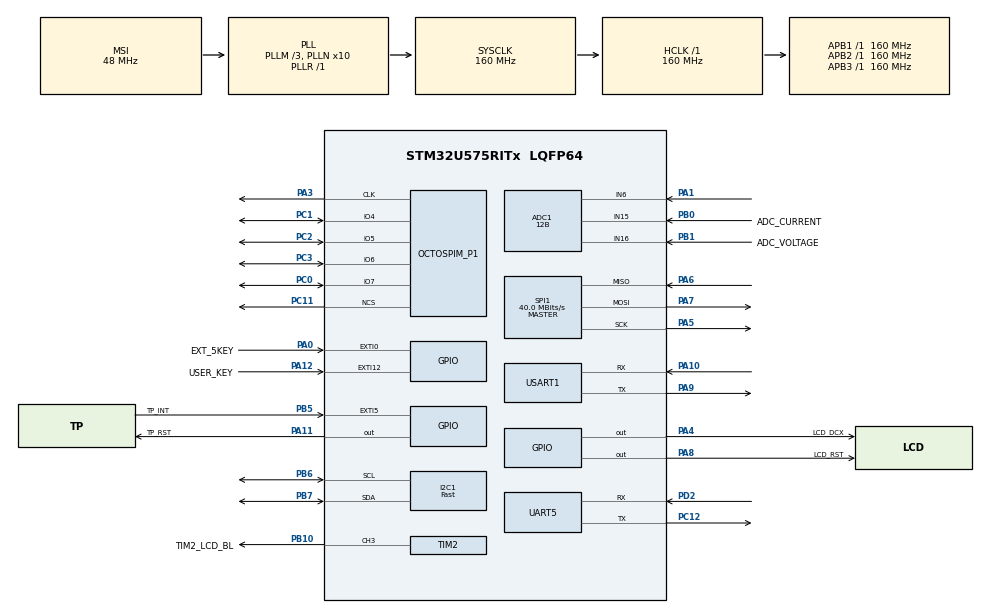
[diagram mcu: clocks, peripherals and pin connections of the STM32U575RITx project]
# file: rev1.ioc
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ADC1.Channel-0\#ChannelRegularConversion=ADC_CHANNEL_6
ADC1.Channel-1\#ChannelRegularConversion=ADC_CHANNEL_15
ADC1.Channel-2\#ChannelRegularConversion=ADC_CHANNEL_16
ADC1.Channel-3\#ChannelRegularConversion=ADC_CHANNEL_TEMPSENSOR
ADC1.Channel-4\#ChannelRegularConversion=ADC_CHANNEL_VREFINT
ADC1.Channel-5\#ChannelRegularConversion=ADC_CHANNEL_VBAT
ADC1.ClockPrescaler=ADC_CLOCK_ASYNC_DIV4
ADC1.ContinuousConvMode=ENABLE
ADC1.ConversionDataManagement=ADC_CONVERSIONDATA_DMA_CIRCULAR
ADC1.EnableRegularConversion=ENABLE
ADC1.MonitoredBy-0\#ChannelRegularConversion=__NULL
ADC1.MonitoredBy-1\#ChannelRegularConversion=__NULL
ADC1.MonitoredBy-2\#ChannelRegularConversion=__NULL
ADC1.MonitoredBy-3\#ChannelRegularConversion=__NULL
ADC1.MonitoredBy-4\#ChannelRegularConversion=__NULL
ADC1.MonitoredBy-5\#ChannelRegularConversion=__NULL
ADC1.NbrOfConversion=6
ADC1.NbrOfConversionFlag=1
ADC1.OffsetNumber-0\#ChannelRegularConversion=ADC_OFFSET_NONE
ADC1.OffsetNumber-1\#ChannelRegularConversion=ADC_OFFSET_NONE
ADC1.OffsetNumber-2\#ChannelRegularConversion=ADC_OFFSET_NONE
ADC1.OffsetNumber-3\#ChannelRegularConversion=ADC_OFFSET_NONE
ADC1.OffsetNumber-4\#ChannelRegularConversion=ADC_OFFSET_NONE
ADC1.OffsetNumber-5\#ChannelRegularConversion=ADC_OFFSET_NONE
ADC1.Rank-0\#ChannelRegularConversion=1
ADC1.Rank-1\#ChannelRegularConversion=2
ADC1.Rank-2\#ChannelRegularConversion=3
ADC1.Rank-3\#ChannelRegularConversion=4
ADC1.Rank-4\#ChannelRegularConversion=5
ADC1.Rank-5\#ChannelRegularConversion=6
ADC1.Resolution=ADC_RESOLUTION_12B
ADC1.SamplingTime-0\#ChannelRegularConversion=ADC_SAMPLETIME_391CYCLES_5
ADC1.SamplingTime-1\#ChannelRegularConversion=ADC_SAMPLETIME_391CYCLES_5
ADC1.SamplingTime-2\#ChannelRegularConversion=ADC_SAMPLETIME_391CYCLES_5
ADC1.SamplingTime-3\#ChannelRegularConversion=ADC_SAMPLETIME_391CYCLES_5
ADC1.SamplingTime-4\#ChannelRegularConversion=ADC_SAMPLETIME_391CYCLES_5
ADC1.SamplingTime-5\#ChannelRegularConversion=ADC_SAMPLETIME_391CYCLES_5
ADC1.master=1
CORTEX_M33_NS.userName=CORTEX_M33
GPDMA1.CIRCULARMODE_GPDMACH1=ENABLE
GPDMA1.DESTDATAWIDTH_GPDMACH0=DMA_DEST_DATAWIDTH_HALFWORD
GPDMA1.DESTDATAWIDTH_GPDMACH1=DMA_DEST_DATAWIDTH_HALFWORD
GPDMA1.DESTINC_GPDMACH1=DMA_DINC_INCREMENTED
GPDMA1.DIRECTION_GPDMACH0=DMA_MEMORY_TO_PERIPH
GPDMA1.DIRECTION_GPDMACH1=DMA_PERIPH_TO_MEMORY
GPDMA1.IPHANDLE_GPDMACH0-SIMPLEREQUEST_GPDMACH0=__NULL
GPDMA1.IPHANDLE_GPDMACH1-SIMPLEREQUEST_GPDMACH1=__NULL
GPDMA1.LINKALLOCATEDPORT_CIRCULAR_GPDMACH1=DMA_LINK_ALLOCATED_PORT1
GPDMA1.PRIORITY_GPDMACH0=DMA_LOW_PRIORITY_HIGH_WEIGHT
GPDMA1.PRIORITY_LL_CIRCULAR_GPDMACH1=DMA_LOW_PRIORITY_HIGH_WEIGHT
GPDMA1.REQUEST_GPDMACH0=GPDMA1_REQUEST_SPI1_TX
GPDMA1.REQUEST_GPDMACH1=GPDMA1_REQUEST_ADC1
GPDMA1.SRCDATAWIDTH_GPDMACH0=DMA_SRC_DATAWIDTH_HALFWORD
GPDMA1.SRCDATAWIDTH_GPDMACH1=DMA_SRC_DATAWIDTH_HALFWORD
GPDMA1.SRCINC_GPDMACH0=DMA_SINC_INCREMENTED
GPDMA1.SRCINC_GPDMACH1=DMA_SINC_FIXED
GPDMA1.TRANSFERALLOCATEDPORTDEST_GPDMACH0=DMA_DEST_ALLOCATED_PORT1
GPDMA1.TRANSFERALLOCATEDPORTDEST_GPDMACH1=DMA_DEST_ALLOCATED_PORT1
GPDMA1.TRANSFERALLOCATEDPORTSRC_GPDMACH1=DMA_SRC_ALLOCATED_PORT1
I2C1.I2C_Speed_Mode=I2C_Fast
I2C1.Timing=0x00F07BFF
ICACHE.Region=ICACHE_REGION_0
Mcu.Family=STM32U5
Mcu.Name=STM32U575RITx
Mcu.Package=LQFP64
NVIC.EXTI0_IRQn=true\:0\:0\:false\:false\:true\:true\:true\:true
NVIC.EXTI12_IRQn=true\:12\:0\:true\:false\:true\:true\:true\:true
NVIC.EXTI5_IRQn=true\:10\:0\:true\:false\:true\:true\:true\:true
NVIC.GPDMA1_Channel0_IRQn=true\:0\:0\:false\:false\:true\:false\:true\:true
NVIC.GPDMA1_Channel1_IRQn=true\:0\:0\:false\:false\:true\:false\:true\:true
NVIC.PriorityGroup=NVIC_PRIORITYGROUP_4
NVIC.SPI1_IRQn=true\:0\:0\:false\:false\:true\:false\:true\:true
NVIC.TIM16_IRQn=true\:13\:0\:true\:false\:true\:true\:true\:true
NVIC.TIM17_IRQn=true\:14\:0\:true\:false\:true\:true\:true\:true
NVIC.UART5_IRQn=true\:1\:0\:true\:false\:true\:true\:true\:true
OCTOSPI1.ClockMode=HAL_OSPI_CLOCK_MODE_3
OCTOSPI1.ClockPrescaler=2
OCTOSPI1.DeviceSize=24
OCTOSPI1.FifoThreshold=8
OCTOSPI1.SampleShifting=HAL_OSPI_SAMPLE_SHIFTING_HALFCYCLE
PA0.GPIO_Label=EXT_5KEY
PA0.GPIO_ModeDefaultEXTI=GPIO_MODE_IT_RISING_FALLING
PA0.Signal=GPXTI0
PA1.Mode=IN6-Single-Ended
PA1.Signal=ADC1_IN6
PA10.Mode=Asynchronous
PA10.Signal=USART1_RX
PA11.GPIO_Label=TP_RST
PA11.Signal=GPIO_Output
PA12.GPIO_Label=USER_KEY
PA12.GPIO_ModeDefaultEXTI=GPIO_MODE_IT_FALLING
PA12.Signal=GPXTI12
PA3.Mode=O1_P1_CLK
PA3.Signal=OCTOSPIM_P1_CLK
PA4.GPIO_Label=LCD_DCX
PA4.GPIO_Speed=GPIO_SPEED_FREQ_VERY_HIGH
PA4.Signal=GPIO_Output
PA5.GPIO_Speed=GPIO_SPEED_FREQ_VERY_HIGH
PA5.Mode=Full_Duplex_Master
PA5.Signal=SPI1_SCK
PA6.Mode=Full_Duplex_Master
PA6.Signal=SPI1_MISO
PA7.GPIO_Speed=GPIO_SPEED_FREQ_VERY_HIGH
PA7.Mode=Full_Duplex_Master
PA7.Signal=SPI1_MOSI
PA8.GPIO_Label=LCD_RST
PA8.GPIO_Speed=GPIO_SPEED_FREQ_HIGH
PA8.Signal=GPIO_Output
PA9.Mode=Asynchronous
PA9.Signal=USART1_TX
PB0.GPIO_Label=ADC_CURRENT
PB0.Mode=IN15-Single-Ended
PB0.Signal=ADC1_IN15
PB1.GPIO_Label=ADC_VOLTAGE
PB1.Mode=IN16-Single-Ended
PB1.Signal=ADC1_IN16
PB10.GPIO_Label=TIM2_LCD_BL
PB10.Signal=S_TIM2_CH3
PB5.GPIO_Label=TP_INT
PB5.GPIO_ModeDefaultEXTI=GPIO_MODE_IT_RISING_FALLING
PB5.Signal=GPXTI5
PB6.Mode=I2C
PB6.Signal=I2C1_SCL
PB7.Mode=I2C
PB7.Signal=I2C1_SDA
PC0.Mode=OCTOSPI1_IOL_Port1H
PC0.Signal=OCTOSPIM_P1_IO7
PC1.Mode=OCTOSPI1_IOL_Port1H
PC1.Signal=OCTOSPIM_P1_IO4
PC11.Mode=OCTOSPI1_Port1_NCS
PC11.Signal=OCTOSPIM_P1_NCS
PC12.Mode=Asynchronous
PC12.Signal=UART5_TX
PC14-OSC32_IN\ (PC14).Mode=LSE-External-Oscillator
PC14-OSC32_IN\ (PC14).Signal=RCC_OSC32_IN
PC15-OSC32_OUT\ (PC15).Mode=LSE-External-Oscillator
PC15-OSC32_OUT\ (PC15).Signal=RCC_OSC32_OUT
PC2.Mode=OCTOSPI1_IOL_Port1H
PC2.Signal=OCTOSPIM_P1_IO5
PC3.Mode=OCTOSPI1_IOL_Port1H
PC3.Signal=OCTOSPIM_P1_IO6
PD2.Mode=Asynchronous
PD2.Signal=UART5_RX
PH0-OSC_IN\ (PH0).Mode=HSE-External-Oscillator
PH0-OSC_IN\ (PH0).Signal=RCC_OSC_IN
PH1-OSC_OUT\ (PH1).Mode=HSE-External-Oscillator
PH1-OSC_OUT\ (PH1).Signal=RCC_OSC_OUT
ProjectManager.HeapSize=0x1200
ProjectManager.StackSize=0x1200
ProjectManager.TargetToolchain=MDK-ARM V5.32
RCC.ADCFreq_Value=16000000
RCC.AHBFreq_Value=160000000
RCC.APB1Freq_Value=160000000
RCC.APB1TimFreq_Value=160000000
RCC.APB2Freq_Value=160000000
RCC.APB2TimFreq_Value=160000000
RCC.APB3Freq_Value=160000000
RCC.CortexFreq_Value=160000000
RCC.EPOD_VALUE=48000000
RCC.HCLKFreq_Value=160000000
RCC.HSE_VALUE=12000000
RCC.HSI48_VALUE=48000000
RCC.HSI_VALUE=16000000
RCC.LSIDIV_VALUE=32000
RCC.MSIClockRange=RCC_MSIRANGE_0
RCC.MSI_VALUE=48000000
RCC.PLL1R=1
RCC.PLL2FRACN=0
RCC.PLL3FRACN=0
RCC.PLLFRACN=0
RCC.PLLM=3
RCC.PLLN=10
RCC.SYSCLKFreq_VALUE=160000000
RCC.SYSCLKSource=RCC_SYSCLKSOURCE_PLLCLK
RCC.USBFreq_Value=48000000
RCC.VCOOutputFreq_Value=160000000
RTC.Date=11
RTC.Hours=12
RTC.Month=RTC_MONTH_JUNE
RTC.WeekDay=RTC_WEEKDAY_WEDNESDAY
RTC.Year=25
SH.S_TIM2_CH3.0=TIM2_CH3,PWM Generation3 CH3
SPI1.BaudRatePrescaler=SPI_BAUDRATEPRESCALER_4
SPI1.CalculateBaudRate=40.0 MBits/s
SPI1.DataSize=SPI_DATASIZE_8BIT
SPI1.Direction=SPI_DIRECTION_2LINES
SPI1.Mode=SPI_MODE_MASTER
SPI1.VirtualType=VM_MASTER
STMicroelectronics.X-CUBE-TOUCHGFX.4.21.2.ApplicationCcGraphicsJjApplication=TouchGFXOoGenerator
STMicroelectronics.X-CUBE-TOUCHGFX.4.21.2.tgfx_custom_height=240
STMicroelectronics.X-CUBE-TOUCHGFX.4.21.2.tgfx_custom_width=320
STMicroelectronics.X-CUBE-TOUCHGFX.4.21.2.tgfx_hardware_accelerator=dma_custom
STMicroelectronics.X-CUBE-TOUCHGFX.4.21.2_IsPackSelfContextualization=true
TIM16.PeriodNoDither=5000-1
TIM16.Prescaler=160-1
TIM17.Prescaler=1600-1
TIM2.AutoReloadPreload=TIM_AUTORELOAD_PRELOAD_ENABLE
TIM2.Channel-PWM\ Generation3\ CH3=TIM_CHANNEL_3
TIM2.PeriodNoDither=1000-1
TIM2.Prescaler=64-1
TIM2.PulseNoDither_3=500-1
USART1.VirtualMode-Asynchronous=VM_ASYNC
VP_ADC1_TempSens_Input.Mode=IN-TempSens
VP_ADC1_Vbat_Input.Mode=IN-Vbat
VP_ADC1_Vref_Input.Mode=IN-Vrefint
VP_CRC_VS_CRC.Mode=CRC_Activate
VP_GPDMA1_VS_GPDMACH0.Mode=SIMPLEREQUEST_GPDMACH0
VP_GPDMA1_VS_GPDMACH1.Mode=SIMPLEREQUEST_GPDMACH1
VP_ICACHE_VS_ENABLE_ICACHE_MEMORY.Mode=Memoryregions
VP_ICACHE_VS_ICACHE.Mode=DirectMappedCache
VP_LPBAMQUEUE_VS_QUEUE.Mode=QUEUEMODE
VP_LPBAM_VS_SIG1.Mode=SmartRun
VP_LPBAM_VS_SIG4.Mode=LPDMA1
VP_MEMORYMAP_VS_MEMORYMAP.Mode=CurAppReg
VP_OCTOSPI1_VS_quad.Mode=quad_mode
VP_PWR_VS_SECSignals.Mode=Security/Privilege
VP_PWR_Vdda.Mode=isolationVdda
VP_RTC_VS_RTC_Activate.Mode=RTC_Enabled
VP_RTC_VS_RTC_Calendar.Mode=RTC_Calendar
VP_STMicroelectronics.X-CUBE-TOUCHGFX_VS_GraphicsJjApplication_4.21.2.Mode=GraphicsJjApplication
VP_TIM16_VS_ClockSourceINT.Mode=Enable_Timer
VP_TIM17_VS_ClockSourceINT.Mode=Enable_Timer
board=custom

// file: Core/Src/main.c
/* USER CODE BEGIN Header */
/**
  ******************************************************************************
  * @file           : main.c
  * @brief          : Main program body
  ******************************************************************************
  * @attention
  *
  * Copyright (c) 2025 STMicroelectronics.
  * All rights reserved.
  *
  * This software is licensed under terms that can be found in the LICENSE file
  * in the root directory of this software component.
  * If no LICENSE file comes with this software, it is provided AS-IS.
  *
  ******************************************************************************
  */
/* USER CODE END Header */
#include "main.h"
#include "adc.h"
#include "crc.h"
#include "gpdma.h"
#include "i2c.h"
#include "icache.h"
#include "memorymap.h"
#include "octospi.h"
#include "rtc.h"
#include "spi.h"
#include "tim.h"
#include "usart.h"
#include "gpio.h"
#include "app_touchgfx.h"

/* USER CODE BEGIN Includes */
#include "stdio.h"
#include "bsp_ili9341_spi.h"
#include "bsp_mpu6050_i2c.h"
#include "bsp_ch579_uart2.h"

/* USER CODE END Includes */

/* USER CODE BEGIN PV */
typedef struct {
	uint8_t buf[128];
	uint8_t flag;
	uint8_t idx;
	uint8_t ch;
} UART5_RX;
/* USER CODE END PV */

void SystemClock_Config(void);

/* USER CODE BEGIN 0 */
UART5_RX uart5_rx = {0};
void HAL_UART_RxCpltCallback(UART_HandleTypeDef *huart)
{
	if (huart->Instance == UART5) {
		if (uart5_rx.ch == '\n') {
			uart5_rx.flag = 1;
		} else {
			uart5_rx.buf[uart5_rx.idx++] = uart5_rx.ch;
		}
		HAL_UART_Receive_IT(&huart5, &uart5_rx.ch, 1);
	}
}

int fputc(int ch, FILE *f)
{
	HAL_UART_Transmit(&huart1, (uint8_t *)&ch, 1, HAL_MAX_DELAY);
	return ch;
}
/* USER CODE END 0 */

int main(void)
{

  /* MCU Configuration--------------------------------------------------------*/

  /* Reset of all peripherals, Initializes the Flash interface and the Systick. */
  HAL_Init();

  /* Configure the system clock */
  SystemClock_Config();

  /* Initialize all configured peripherals */
  MX_GPIO_Init();
  MX_GPDMA1_Init();
  MX_ICACHE_Init();
  MX_SPI1_Init();
  MX_I2C1_Init();
  MX_USART1_UART_Init();
  MX_UART5_Init();
  MX_CRC_Init();
  MX_ADC1_Init();
  MX_OCTOSPI1_Init();
  MX_RTC_Init();
  MX_TIM16_Init();
  MX_TIM17_Init();
  MX_TIM2_Init();
  MX_TouchGFX_Init();
  /* USER CODE BEGIN 2 */
	HAL_UART_Receive_IT(&huart5, &uart5_rx.ch, 1);
	HAL_TIM_PWM_Start(&htim2, TIM_CHANNEL_3);
	ili9341_init();
	mpu6050_init();
	ch579_init();

  /* USER CODE END 2 */

  /* Infinite loop */
  /* USER CODE BEGIN WHILE */
  while (1)
  {
	  //HAL_UART_Transmit(&huart1, (uint8_t *)"1ok\n", 4, HAL_MAX_DELAY);
	  HAL_UART_Transmit(&huart5, (uint8_t *)"1111\n", 5, HAL_MAX_DELAY);
	  lcd_update_backlight(20);
	  HAL_Delay(2000);
	  lcd_update_backlight(100);
	  HAL_Delay(2000);
	  //test();
	  //ReadMPU6050Data(&AccX, &AccY, &AccZ, &GyroX, &GyroY, &GyroZ);
    /* USER CODE END WHILE */

  MX_TouchGFX_Process();
  }
}

void SystemClock_Config(void)
{
  RCC_OscInitTypeDef RCC_OscInitStruct = {0};
  RCC_ClkInitTypeDef RCC_ClkInitStruct = {0};

  /** Configure the main internal regulator output voltage
  */
  if (HAL_PWREx_ControlVoltageScaling(PWR_REGULATOR_VOLTAGE_SCALE1) != HAL_OK)
  {
    Error_Handler();
  }

  /** Initializes the CPU, AHB and APB buses clocks
  */
  RCC_OscInitStruct.OscillatorType = RCC_OSCILLATORTYPE_HSI|RCC_OSCILLATORTYPE_LSI
                              |RCC_OSCILLATORTYPE_MSI;
  RCC_OscInitStruct.HSIState = RCC_HSI_ON;
  RCC_OscInitStruct.HSICalibrationValue = RCC_HSICALIBRATION_DEFAULT;
  RCC_OscInitStruct.LSIState = RCC_LSI_ON;
  RCC_OscInitStruct.MSIState = RCC_MSI_ON;
  RCC_OscInitStruct.MSICalibrationValue = RCC_MSICALIBRATION_DEFAULT;
  RCC_OscInitStruct.MSIClockRange = RCC_MSIRANGE_0;
  RCC_OscInitStruct.LSIDiv = RCC_LSI_DIV1;
  RCC_OscInitStruct.PLL.PLLState = RCC_PLL_ON;
  RCC_OscInitStruct.PLL.PLLSource = RCC_PLLSOURCE_MSI;
  RCC_OscInitStruct.PLL.PLLMBOOST = RCC_PLLMBOOST_DIV4;
  RCC_OscInitStruct.PLL.PLLM = 3;
  RCC_OscInitStruct.PLL.PLLN = 10;
  RCC_OscInitStruct.PLL.PLLP = 2;
  RCC_OscInitStruct.PLL.PLLQ = 2;
  RCC_OscInitStruct.PLL.PLLR = 1;
  RCC_OscInitStruct.PLL.PLLRGE = RCC_PLLVCIRANGE_1;
  RCC_OscInitStruct.PLL.PLLFRACN = 0;
  if (HAL_RCC_OscConfig(&RCC_OscInitStruct) != HAL_OK)
  {
    Error_Handler();
  }

  /** Initializes the CPU, AHB and APB buses clocks
  */
  RCC_ClkInitStruct.ClockType = RCC_CLOCKTYPE_HCLK|RCC_CLOCKTYPE_SYSCLK
                              |RCC_CLOCKTYPE_PCLK1|RCC_CLOCKTYPE_PCLK2
                              |RCC_CLOCKTYPE_PCLK3;
  RCC_ClkInitStruct.SYSCLKSource = RCC_SYSCLKSOURCE_PLLCLK;
  RCC_ClkInitStruct.AHBCLKDivider = RCC_SYSCLK_DIV1;
  RCC_ClkInitStruct.APB1CLKDivider = RCC_HCLK_DIV1;
  RCC_ClkInitStruct.APB2CLKDivider = RCC_HCLK_DIV1;
  RCC_ClkInitStruct.APB3CLKDivider = RCC_HCLK_DIV1;

  if (HAL_RCC_ClockConfig(&RCC_ClkInitStruct, FLASH_LATENCY_4) != HAL_OK)
  {
    Error_Handler();
  }
}

void Error_Handler(void)
{
  __disable_irq();
  while (1)
  {
  }
}
